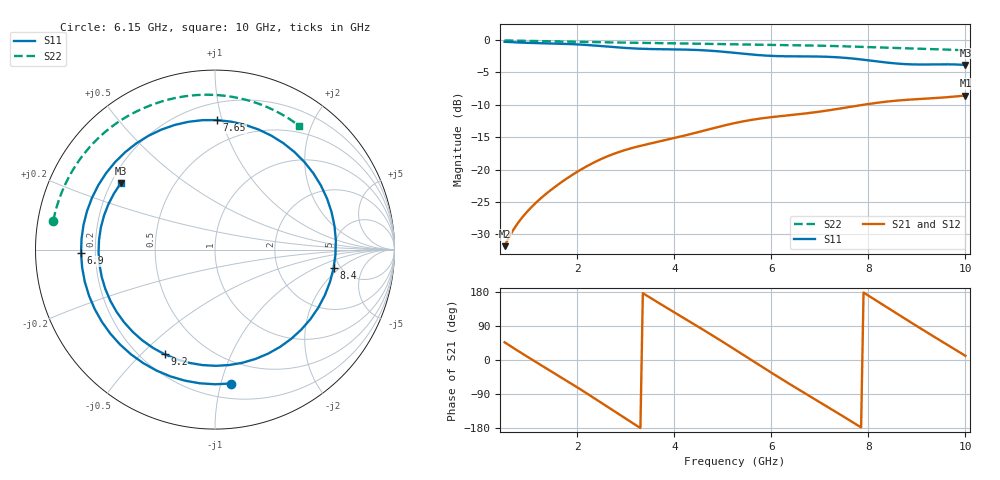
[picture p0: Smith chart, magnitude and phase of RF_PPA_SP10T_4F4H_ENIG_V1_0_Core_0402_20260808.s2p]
! Touchstone file exported from HFSS 3D Layout Design 2026.1.0
!  File:  D:/Work/ADS/SIMADS_EM_PAR/SP8T/RF-PPA-SP10T-4F4H-ENIG-V1.0.aedt
!  Generated:  01:20:46 PM Aug  8, 2026
!  Design:  RF-PPA-SP10T-4F4H-ENIG-V1.0_Core
!  Project:  RF-PPA-SP10T-4F4H-ENIG-V1.0
! Variables:
!  BendModel = 0
# GHz S MA R 50.000000
! Terminal data exported
! Port[1] = Port1
! Port[2] = Port2
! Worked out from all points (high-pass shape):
!   191 points, 500 MHz to 10 GHz, reference 50 ohm
!   highest |S21| = -8.56 dB at 10 GHz (marker M1); lowest = -31.8 dB at 500 MHz (marker M2)
!   |S21| within 3 dB of the highest: 6.425 GHz to end of sweep
!   lowest |S11| = -3.8 dB at 10 GHz (marker M3), VSWR 4.59, Z = 11.9 + j15 ohm
!   |S11| at or under -10 dB: nowhere
!   |S22| runs from -1.6 to -0.1 dB; largest |S21 - S12| = 1.6e-14
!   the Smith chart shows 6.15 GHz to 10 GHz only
!   S11 on the Smith chart (normalised r, x): 6.15 GHz: 0.31, -1.07; 6.9 GHz: 0.15, -0.01; 7.65 GHz: 0.32, +0.96; 8.4 GHz: 4.38, -1.66; 9.2 GHz: 0.29, -0.59; 10 GHz: 0.24, +0.30
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0.5  0.9698 -70.5  0.02564 46.7  0.02564 46.7  0.9926 -16.8
0.85  0.955 -116.5  0.04212 18.1  0.04212 18.1  0.9869 -28.3
1.3  0.9448 -172.7  0.06248 -17.2  0.06248 -17.2  0.9801 -42.9
1.65  0.9376 144.1  0.07893 -44.5  0.07893 -44.5  0.9748 -54.1
2.1  0.9211 87.0  0.1014 -80.4  0.1014 -80.4  0.9678 -68.4
2.5  0.8981 33.7  0.1211 -113.4  0.1211 -113.4  0.9616 -81.0
2.8  0.8793 -7.4  0.1344 -138.5  0.1344 -138.5  0.9573 -90.3
3.25  0.8584 -68.5  0.1508 -175.5  0.1508 -175.5  0.9515 -104.1
3.7  0.8495 -127.0  0.1651 148.8  0.1651 148.8  0.9464 -117.7
4.3  0.8423 158.7  0.1866 102.6  0.1866 102.6  0.9397 -135.8
4.8  0.8244 96.6  0.2085 63.6  0.2085 63.6  0.9329 -150.7
5.25  0.796 38.0  0.2289 27.5  0.2289 27.5  0.9263 -163.9
5.65  0.7698 -16.0  0.244 -5.2  0.244 -5.2  0.9209 -175.6
6.15  0.7512 -83.3  0.2577 -45.5  0.2577 -45.5  0.9153 169.8
6.85  0.747 -172.2  0.2755 -100.0  0.2755 -100.0  0.9069 149.3
6.9  0.7466 -178.4  0.277 -103.9  0.277 -103.9  0.9062 147.9
7.65  0.7216 89.2  0.306 -162.1  0.306 -162.1  0.8909 125.8
8.4  0.6687 -9.0  0.3354 137.6  0.3354 137.6  0.8726 103.9
8.45  0.6656 -15.7  0.3369 133.6  0.3369 133.6  0.8715 102.4
9.2  0.6473 -115.7  0.3533 73.5  0.3533 73.5  0.8537 80.3
9.6  0.6493 -166.4  0.3615 42.3  0.3615 42.3  0.8442 68.2
10  0.642 145.0  0.3731 11.1  0.3731 11.1  0.8335 55.9
